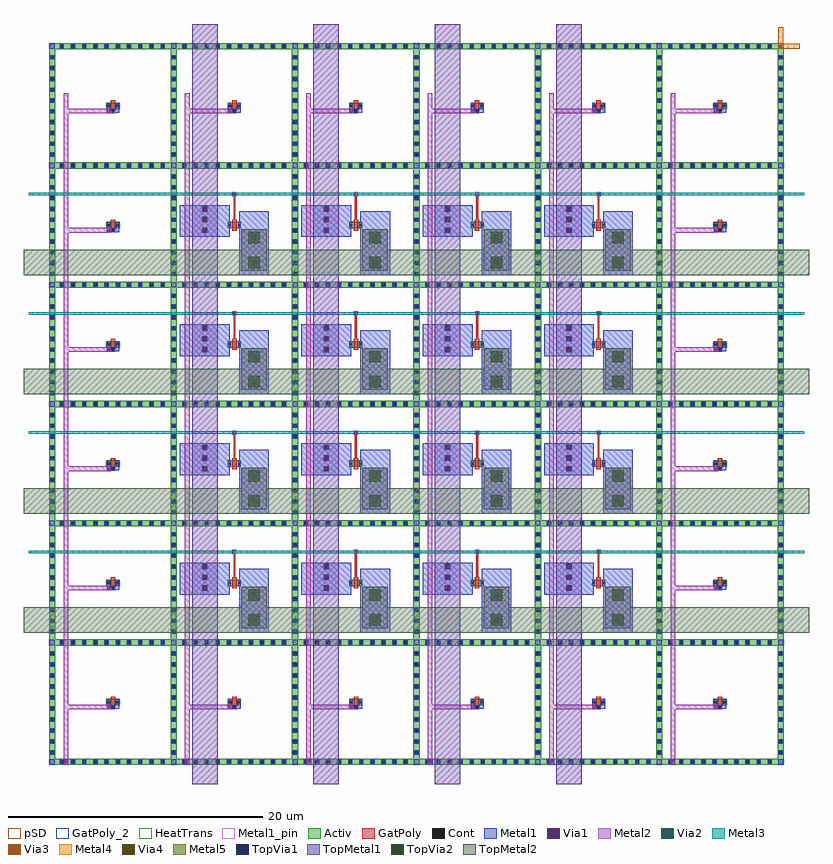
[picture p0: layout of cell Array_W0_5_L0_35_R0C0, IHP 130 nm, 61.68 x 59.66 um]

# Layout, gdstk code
import gdstk
lib = gdstk.Library(unit=1e-6, precision=1e-09)
def R(c, l, rs):  # rectangles x0, y0, x1, y1
    for r in rs: c.add(gdstk.rectangle(r[:2], r[2:], *l))
def A(c, l, x, y, w, h, nx, ny, dx, dy):  # array of equal rectangles
    R(c, l, [(x+i*dx, y+j*dy, x+i*dx+w, y+j*dy+h) for i in range(nx) for j in range(ny)])
Activ = (1, 0)
GatPoly = (5, 0)
GatPoly_2 = (5, 2)
Cont = (6, 0)
Metal1 = (8, 0)
Metal1_pin = (8, 2)
Metal2 = (10, 0)
pSD = (14, 0)
Via1 = (19, 0)
Via2 = (29, 0)
Metal3 = (30, 0)
Via3 = (49, 0)
Metal4 = (50, 0)
HeatTrans = (51, 0)
Via4 = (66, 0)
Metal5 = (67, 0)
TopVia1 = (125, 0)
TopMetal1 = (126, 0)
TopVia2 = (133, 0)
TopMetal2 = (134, 0)

array_w0_5_l0_35_r0c0 = lib.new_cell('Array_W0_5_L0_35_R0C0')
A(array_w0_5_l0_35_r0c0, Activ, 0, 0, 0.5, 56.66, 7, 1, 9.53, 0)
A(array_w0_5_l0_35_r0c0, Activ, 0, 0, 57.68, 0.5, 1, 7, 0, 9.36)
A(array_w0_5_l0_35_r0c0, Activ, 4.5, 4.68, 0.3, 0.3, 1, 6, 0, 9.36)
A(array_w0_5_l0_35_r0c0, Activ, 4.5, 4.68, 1.03, 0.5, 6, 6, 9.53, 9.36)
A(array_w0_5_l0_35_r0c0, Activ, 5.23, 4.68, 0.3, 0.3, 1, 6, 0, 9.36)
A(array_w0_5_l0_35_r0c0, Activ, 14.03, 4.68, 0.3, 0.3, 1, 6, 0, 9.36)
A(array_w0_5_l0_35_r0c0, Activ, 14.76, 4.68, 0.3, 0.3, 1, 6, 0, 9.36)
A(array_w0_5_l0_35_r0c0, Activ, 23.56, 4.68, 0.3, 0.3, 1, 6, 0, 9.36)
A(array_w0_5_l0_35_r0c0, Activ, 24.29, 4.68, 0.3, 0.3, 1, 6, 0, 9.36)
A(array_w0_5_l0_35_r0c0, Activ, 33.09, 4.68, 0.3, 0.3, 1, 6, 0, 9.36)
A(array_w0_5_l0_35_r0c0, Activ, 33.82, 4.68, 0.3, 0.3, 1, 6, 0, 9.36)
A(array_w0_5_l0_35_r0c0, Activ, 42.62, 4.68, 0.3, 0.3, 1, 6, 0, 9.36)
A(array_w0_5_l0_35_r0c0, Activ, 43.35, 4.68, 0.3, 0.3, 1, 6, 0, 9.36)
A(array_w0_5_l0_35_r0c0, Activ, 52.15, 4.68, 0.3, 0.3, 1, 6, 0, 9.36)
A(array_w0_5_l0_35_r0c0, Activ, 52.88, 4.68, 0.3, 0.3, 1, 6, 0, 9.36)
A(array_w0_5_l0_35_r0c0, GatPoly, 4.84, 4.5, 0.35, 0.86, 6, 6, 9.53, 9.36)
A(array_w0_5_l0_35_r0c0, GatPoly, 4.95, 4.53, 0.13, 0.2, 6, 2, 9.53, 46.8)
A(array_w0_5_l0_35_r0c0, GatPoly, 4.95, 13.89, 0.13, 0.2, 1, 4, 0, 9.36)
A(array_w0_5_l0_35_r0c0, GatPoly, 52.6, 13.89, 0.13, 0.2, 1, 4, 0, 9.36)
A(array_w0_5_l0_35_r0c0, GatPoly, 14.48, 14.72, 0.13, 2, 4, 4, 9.53, 9.36)
A(array_w0_5_l0_35_r0c0, GatPoly_2, 4.84, 4.5, 0.35, 0.86, 6, 6, 9.53, 9.36)
A(array_w0_5_l0_35_r0c0, Cont, 0.881, 0.14, 0.22, 0.22, 10, 7, 0.881, 9.36)
A(array_w0_5_l0_35_r0c0, Cont, 10.53, 0.14, 0.22, 0.22, 1, 7, 0, 9.36)
A(array_w0_5_l0_35_r0c0, Cont, 11.397, 0.14, 0.22, 0.22, 4, 7, 0.868, 9.36)
A(array_w0_5_l0_35_r0c0, Cont, 14.868, 0.14, 0.22, 0.22, 5, 7, 0.868, 9.36)
A(array_w0_5_l0_35_r0c0, Cont, 20.06, 0.14, 0.22, 0.22, 1, 7, 0, 9.36)
A(array_w0_5_l0_35_r0c0, Cont, 20.927, 0.14, 0.22, 0.22, 4, 7, 0.868, 9.36)
A(array_w0_5_l0_35_r0c0, Cont, 24.398, 0.14, 0.22, 0.22, 5, 7, 0.868, 9.36)
A(array_w0_5_l0_35_r0c0, Cont, 29.59, 0.14, 0.22, 0.22, 1, 7, 0, 9.36)
A(array_w0_5_l0_35_r0c0, Cont, 30.457, 0.14, 0.22, 0.22, 4, 7, 0.868, 9.36)
A(array_w0_5_l0_35_r0c0, Cont, 33.928, 0.14, 0.22, 0.22, 5, 7, 0.868, 9.36)
A(array_w0_5_l0_35_r0c0, Cont, 39.12, 0.14, 0.22, 0.22, 1, 7, 0, 9.36)
A(array_w0_5_l0_35_r0c0, Cont, 39.987, 0.14, 0.22, 0.22, 4, 7, 0.868, 9.36)
A(array_w0_5_l0_35_r0c0, Cont, 43.458, 0.14, 0.22, 0.22, 5, 7, 0.868, 9.36)
A(array_w0_5_l0_35_r0c0, Cont, 48.65, 0.14, 0.22, 0.22, 1, 7, 0, 9.36)
A(array_w0_5_l0_35_r0c0, Cont, 49.517, 0.14, 0.22, 0.22, 4, 7, 0.868, 9.36)
A(array_w0_5_l0_35_r0c0, Cont, 52.988, 0.14, 0.22, 0.22, 5, 7, 0.868, 9.36)
A(array_w0_5_l0_35_r0c0, Cont, 0.14, 0.864, 0.22, 0.22, 7, 10, 9.53, 0.864)
A(array_w0_5_l0_35_r0c0, Cont, 4.905, 4.42, 0.22, 0.22, 6, 2, 9.53, 46.8)
A(array_w0_5_l0_35_r0c0, Cont, 4.57, 4.85, 0.16, 0.16, 1, 6, 0, 9.36)
A(array_w0_5_l0_35_r0c0, Cont, 5.3, 4.85, 0.16, 0.16, 1, 6, 0, 9.36)
A(array_w0_5_l0_35_r0c0, Cont, 14.1, 4.85, 0.16, 0.16, 1, 6, 0, 9.36)
A(array_w0_5_l0_35_r0c0, Cont, 14.83, 4.85, 0.16, 0.16, 1, 6, 0, 9.36)
A(array_w0_5_l0_35_r0c0, Cont, 23.63, 4.85, 0.16, 0.16, 1, 6, 0, 9.36)
A(array_w0_5_l0_35_r0c0, Cont, 24.36, 4.85, 0.16, 0.16, 1, 6, 0, 9.36)
A(array_w0_5_l0_35_r0c0, Cont, 33.16, 4.85, 0.16, 0.16, 1, 6, 0, 9.36)
A(array_w0_5_l0_35_r0c0, Cont, 33.89, 4.85, 0.16, 0.16, 1, 6, 0, 9.36)
A(array_w0_5_l0_35_r0c0, Cont, 42.69, 4.85, 0.16, 0.16, 1, 6, 0, 9.36)
A(array_w0_5_l0_35_r0c0, Cont, 43.42, 4.85, 0.16, 0.16, 1, 6, 0, 9.36)
A(array_w0_5_l0_35_r0c0, Cont, 52.22, 4.85, 0.16, 0.16, 1, 6, 0, 9.36)
A(array_w0_5_l0_35_r0c0, Cont, 52.95, 4.85, 0.16, 0.16, 1, 6, 0, 9.36)
A(array_w0_5_l0_35_r0c0, Cont, 0.14, 10.36, 0.22, 0.22, 7, 2, 9.53, 0.848)
A(array_w0_5_l0_35_r0c0, Cont, 0.14, 12.057, 0.22, 0.22, 7, 8, 9.53, 0.849)
A(array_w0_5_l0_35_r0c0, Cont, 4.905, 13.78, 0.22, 0.22, 1, 4, 0, 9.36)
A(array_w0_5_l0_35_r0c0, Cont, 52.555, 13.78, 0.22, 0.22, 1, 4, 0, 9.36)
A(array_w0_5_l0_35_r0c0, Cont, 14.435, 16.61, 0.22, 0.22, 4, 4, 9.53, 9.36)
A(array_w0_5_l0_35_r0c0, Cont, 0.14, 19.72, 0.22, 0.22, 7, 2, 9.53, 0.848)
A(array_w0_5_l0_35_r0c0, Cont, 0.14, 21.417, 0.22, 0.22, 7, 8, 9.53, 0.849)
A(array_w0_5_l0_35_r0c0, Cont, 0.14, 29.08, 0.22, 0.22, 7, 2, 9.53, 0.848)
A(array_w0_5_l0_35_r0c0, Cont, 0.14, 30.777, 0.22, 0.22, 7, 8, 9.53, 0.849)
A(array_w0_5_l0_35_r0c0, Cont, 0.14, 38.44, 0.22, 0.22, 7, 2, 9.53, 0.848)
A(array_w0_5_l0_35_r0c0, Cont, 0.14, 40.137, 0.22, 0.22, 7, 8, 9.53, 0.849)
A(array_w0_5_l0_35_r0c0, Cont, 0.14, 47.8, 0.22, 0.22, 7, 2, 9.53, 0.848)
A(array_w0_5_l0_35_r0c0, Cont, 0.14, 49.497, 0.22, 0.22, 7, 8, 9.53, 0.849)
A(array_w0_5_l0_35_r0c0, Metal1, 0.821, 0.08, 0.34, 0.34, 10, 7, 0.881, 9.36)
A(array_w0_5_l0_35_r0c0, Metal1, 10.47, 0.08, 0.34, 0.34, 1, 7, 0, 9.36)
A(array_w0_5_l0_35_r0c0, Metal1, 11.337, 0.08, 0.34, 0.34, 4, 7, 0.868, 9.36)
A(array_w0_5_l0_35_r0c0, Metal1, 14.808, 0.08, 0.34, 0.34, 5, 7, 0.868, 9.36)
A(array_w0_5_l0_35_r0c0, Metal1, 20, 0.08, 0.34, 0.34, 1, 7, 0, 9.36)
A(array_w0_5_l0_35_r0c0, Metal1, 20.867, 0.08, 0.34, 0.34, 4, 7, 0.868, 9.36)
A(array_w0_5_l0_35_r0c0, Metal1, 24.338, 0.08, 0.34, 0.34, 5, 7, 0.868, 9.36)
A(array_w0_5_l0_35_r0c0, Metal1, 29.53, 0.08, 0.34, 0.34, 1, 7, 0, 9.36)
A(array_w0_5_l0_35_r0c0, Metal1, 30.397, 0.08, 0.34, 0.34, 4, 7, 0.868, 9.36)
A(array_w0_5_l0_35_r0c0, Metal1, 33.868, 0.08, 0.34, 0.34, 5, 7, 0.868, 9.36)
A(array_w0_5_l0_35_r0c0, Metal1, 39.06, 0.08, 0.34, 0.34, 1, 7, 0, 9.36)
A(array_w0_5_l0_35_r0c0, Metal1, 39.927, 0.08, 0.34, 0.34, 4, 7, 0.868, 9.36)
A(array_w0_5_l0_35_r0c0, Metal1, 43.398, 0.08, 0.34, 0.34, 5, 7, 0.868, 9.36)
A(array_w0_5_l0_35_r0c0, Metal1, 48.59, 0.08, 0.34, 0.34, 1, 7, 0, 9.36)
A(array_w0_5_l0_35_r0c0, Metal1, 49.457, 0.08, 0.34, 0.34, 4, 7, 0.868, 9.36)
A(array_w0_5_l0_35_r0c0, Metal1, 52.928, 0.08, 0.34, 0.34, 5, 7, 0.868, 9.36)
A(array_w0_5_l0_35_r0c0, Metal1, 0.08, 0.804, 0.34, 0.34, 7, 10, 9.53, 0.864)
A(array_w0_5_l0_35_r0c0, Metal1, 4.845, 4.36, 0.34, 0.34, 6, 2, 9.53, 46.8)
A(array_w0_5_l0_35_r0c0, Metal1, 4.51, 4.39, 0.28, 0.68, 1, 6, 0, 9.36)
A(array_w0_5_l0_35_r0c0, Metal1, 4.51, 4.39, 1.01, 0.28, 6, 2, 9.53, 46.8)
A(array_w0_5_l0_35_r0c0, Metal1, 5.24, 4.39, 0.28, 0.68, 1, 6, 0, 9.36)
A(array_w0_5_l0_35_r0c0, Metal1, 52.16, 4.39, 0.28, 0.68, 1, 6, 0, 9.36)
A(array_w0_5_l0_35_r0c0, Metal1, 52.89, 4.39, 0.28, 0.68, 1, 6, 0, 9.36)
A(array_w0_5_l0_35_r0c0, Metal1, 4.57, 4.68, 0.16, 0.5, 1, 6, 0, 9.36)
A(array_w0_5_l0_35_r0c0, Metal1, 5.3, 4.68, 0.16, 0.5, 1, 6, 0, 9.36)
A(array_w0_5_l0_35_r0c0, Metal1, 14.1, 4.68, 0.16, 0.5, 1, 6, 0, 9.36)
A(array_w0_5_l0_35_r0c0, Metal1, 14.83, 4.68, 0.16, 0.5, 1, 6, 0, 9.36)
A(array_w0_5_l0_35_r0c0, Metal1, 23.63, 4.68, 0.16, 0.5, 1, 6, 0, 9.36)
A(array_w0_5_l0_35_r0c0, Metal1, 24.36, 4.68, 0.16, 0.5, 1, 6, 0, 9.36)
A(array_w0_5_l0_35_r0c0, Metal1, 33.16, 4.68, 0.16, 0.5, 1, 6, 0, 9.36)
A(array_w0_5_l0_35_r0c0, Metal1, 33.89, 4.68, 0.16, 0.5, 1, 6, 0, 9.36)
A(array_w0_5_l0_35_r0c0, Metal1, 42.69, 4.68, 0.16, 0.5, 1, 6, 0, 9.36)
A(array_w0_5_l0_35_r0c0, Metal1, 43.42, 4.68, 0.16, 0.5, 1, 6, 0, 9.36)
A(array_w0_5_l0_35_r0c0, Metal1, 52.22, 4.68, 0.16, 0.5, 1, 6, 0, 9.36)
A(array_w0_5_l0_35_r0c0, Metal1, 52.95, 4.68, 0.16, 0.5, 1, 6, 0, 9.36)
A(array_w0_5_l0_35_r0c0, Metal1, 0.05, 9.41, 0.4, 0.4, 7, 6, 9.53, 9.36)
A(array_w0_5_l0_35_r0c0, Metal1, 0.08, 10.3, 0.34, 0.34, 7, 2, 9.53, 0.848)
A(array_w0_5_l0_35_r0c0, Metal1, 14.91, 10.36, 2.32, 5.02, 4, 4, 9.53, 9.36)
A(array_w0_5_l0_35_r0c0, Metal1, 0.08, 11.997, 0.34, 0.34, 7, 8, 9.53, 0.849)
A(array_w0_5_l0_35_r0c0, Metal1, 10.26, 13.371, 3.92, 2.499, 4, 4, 9.53, 9.36)
A(array_w0_5_l0_35_r0c0, Metal1, 4.845, 13.72, 0.34, 0.34, 1, 4, 0, 9.36)
A(array_w0_5_l0_35_r0c0, Metal1, 52.495, 13.72, 0.34, 0.34, 1, 4, 0, 9.36)
A(array_w0_5_l0_35_r0c0, Metal1, 4.51, 13.75, 1.01, 0.28, 1, 4, 0, 9.36)
A(array_w0_5_l0_35_r0c0, Metal1, 52.16, 13.75, 1.01, 0.28, 1, 4, 0, 9.36)
A(array_w0_5_l0_35_r0c0, Metal1, 14.385, 16.56, 0.32, 0.32, 4, 4, 9.53, 9.36)
A(array_w0_5_l0_35_r0c0, Metal1, 0.08, 19.66, 0.34, 0.34, 7, 2, 9.53, 0.848)
A(array_w0_5_l0_35_r0c0, Metal1, 0.08, 21.357, 0.34, 0.34, 7, 8, 9.53, 0.849)
A(array_w0_5_l0_35_r0c0, Metal1, 0.08, 29.02, 0.34, 0.34, 7, 2, 9.53, 0.848)
A(array_w0_5_l0_35_r0c0, Metal1, 0.08, 30.717, 0.34, 0.34, 7, 8, 9.53, 0.849)
A(array_w0_5_l0_35_r0c0, Metal1, 0.08, 38.38, 0.34, 0.34, 7, 2, 9.53, 0.848)
A(array_w0_5_l0_35_r0c0, Metal1, 0.08, 40.077, 0.34, 0.34, 7, 8, 9.53, 0.849)
A(array_w0_5_l0_35_r0c0, Metal1, 0.08, 47.74, 0.34, 0.34, 7, 2, 9.53, 0.848)
A(array_w0_5_l0_35_r0c0, Metal1, 0.08, 49.437, 0.34, 0.34, 7, 8, 9.53, 0.849)
R(array_w0_5_l0_35_r0c0, Metal1, [(0.05,0.05,0.45,0.45), (1.115,0.05,1.515,0.45), (9.58,0.05,9.98,0.45), (10.645,0.05,11.045,0.45), (19.11,0.05,19.51,0.45), (20.175,0.05,20.575,0.45), (28.64,0.05,29.04,0.45), (29.705,0.05,30.105,0.45), (38.17,0.05,38.57,0.45), (39.235,0.05,39.635,0.45), (47.7,0.05,48.1,0.45), (48.765,0.05,49.165,0.45), (57.23,0.05,57.63,0.45), (14.04,4.39,14.32,5.07), (14.77,4.39,15.05,5.07), (23.57,4.39,23.85,5.07), (24.3,4.39,24.58,5.07), (33.1,4.39,33.38,5.07), (33.83,4.39,34.11,5.07), (42.63,4.39,42.91,5.07), (43.36,4.39,43.64,5.07), (14.04,51.19,14.32,51.87), (14.77,51.19,15.05,51.87), (23.57,51.19,23.85,51.87), (24.3,51.19,24.58,51.87), (33.1,51.19,33.38,51.87), (33.83,51.19,34.11,51.87), (42.63,51.19,42.91,51.87), (43.36,51.19,43.64,51.87)])
A(array_w0_5_l0_35_r0c0, Metal1_pin, 4.57, 4.68, 0.16, 0.5, 1, 6, 0, 9.36)
A(array_w0_5_l0_35_r0c0, Metal1_pin, 5.3, 4.68, 0.16, 0.5, 1, 6, 0, 9.36)
A(array_w0_5_l0_35_r0c0, Metal1_pin, 14.1, 4.68, 0.16, 0.5, 1, 6, 0, 9.36)
A(array_w0_5_l0_35_r0c0, Metal1_pin, 14.83, 4.68, 0.16, 0.5, 1, 6, 0, 9.36)
A(array_w0_5_l0_35_r0c0, Metal1_pin, 23.63, 4.68, 0.16, 0.5, 1, 6, 0, 9.36)
A(array_w0_5_l0_35_r0c0, Metal1_pin, 24.36, 4.68, 0.16, 0.5, 1, 6, 0, 9.36)
A(array_w0_5_l0_35_r0c0, Metal1_pin, 33.16, 4.68, 0.16, 0.5, 1, 6, 0, 9.36)
A(array_w0_5_l0_35_r0c0, Metal1_pin, 33.89, 4.68, 0.16, 0.5, 1, 6, 0, 9.36)
A(array_w0_5_l0_35_r0c0, Metal1_pin, 42.69, 4.68, 0.16, 0.5, 1, 6, 0, 9.36)
A(array_w0_5_l0_35_r0c0, Metal1_pin, 43.42, 4.68, 0.16, 0.5, 1, 6, 0, 9.36)
A(array_w0_5_l0_35_r0c0, Metal1_pin, 52.22, 4.68, 0.16, 0.5, 1, 6, 0, 9.36)
A(array_w0_5_l0_35_r0c0, Metal1_pin, 52.95, 4.68, 0.16, 0.5, 1, 6, 0, 9.36)
A(array_w0_5_l0_35_r0c0, Metal2, 1.135, 0.07, 0.36, 52.66, 6, 1, 9.53, 0)
A(array_w0_5_l0_35_r0c0, Metal2, 1.135, 4.35, 3.695, 0.36, 6, 2, 9.53, 46.8)
A(array_w0_5_l0_35_r0c0, Metal2, 15.915, 11.205, 0.31, 0.31, 4, 2, 9.53, 1.96)
A(array_w0_5_l0_35_r0c0, Metal2, 1.135, 13.71, 3.695, 0.36, 1, 4, 0, 9.36)
A(array_w0_5_l0_35_r0c0, Metal2, 48.785, 13.71, 3.695, 0.36, 1, 4, 0, 9.36)
A(array_w0_5_l0_35_r0c0, Metal2, 12.065, 13.735, 0.31, 0.31, 4, 3, 9.53, 0.84)
A(array_w0_5_l0_35_r0c0, Metal2, 14.4, 16.575, 0.29, 0.29, 4, 4, 9.53, 9.36)
A(array_w0_5_l0_35_r0c0, Metal2, 15.915, 20.565, 0.31, 0.31, 4, 2, 9.53, 1.96)
A(array_w0_5_l0_35_r0c0, Metal2, 12.065, 23.095, 0.31, 0.31, 4, 3, 9.53, 0.84)
A(array_w0_5_l0_35_r0c0, Metal2, 15.915, 29.925, 0.31, 0.31, 4, 2, 9.53, 1.96)
A(array_w0_5_l0_35_r0c0, Metal2, 12.065, 32.455, 0.31, 0.31, 4, 3, 9.53, 0.84)
A(array_w0_5_l0_35_r0c0, Metal2, 15.915, 39.285, 0.31, 0.31, 4, 2, 9.53, 1.96)
A(array_w0_5_l0_35_r0c0, Metal2, 12.065, 41.815, 0.31, 0.31, 4, 3, 9.53, 0.84)
R(array_w0_5_l0_35_r0c0, Metal2, [(57.25,56.23,57.61,56.59)])
A(array_w0_5_l0_35_r0c0, pSD, 0, 0, 0.5, 56.66, 7, 1, 9.53, 0)
A(array_w0_5_l0_35_r0c0, pSD, 0, 0, 57.68, 0.5, 1, 7, 0, 9.36)
A(array_w0_5_l0_35_r0c0, Via1, 1.22, 0.155, 0.19, 0.19, 6, 1, 9.53, 0)
A(array_w0_5_l0_35_r0c0, Via1, 4.555, 4.435, 0.19, 0.19, 6, 2, 9.53, 46.8)
A(array_w0_5_l0_35_r0c0, Via1, 15.975, 11.265, 0.19, 0.19, 4, 2, 9.53, 1.96)
A(array_w0_5_l0_35_r0c0, Via1, 4.555, 13.795, 0.19, 0.19, 1, 4, 0, 9.36)
A(array_w0_5_l0_35_r0c0, Via1, 12.125, 13.795, 0.19, 0.19, 4, 3, 9.53, 0.84)
A(array_w0_5_l0_35_r0c0, Via1, 52.205, 13.795, 0.19, 0.19, 1, 4, 0, 9.36)
A(array_w0_5_l0_35_r0c0, Via1, 14.45, 16.625, 0.19, 0.19, 4, 4, 9.53, 9.36)
A(array_w0_5_l0_35_r0c0, Via1, 15.975, 20.625, 0.19, 0.19, 4, 2, 9.53, 1.96)
A(array_w0_5_l0_35_r0c0, Via1, 12.125, 23.155, 0.19, 0.19, 4, 3, 9.53, 0.84)
A(array_w0_5_l0_35_r0c0, Via1, 15.975, 29.985, 0.19, 0.19, 4, 2, 9.53, 1.96)
A(array_w0_5_l0_35_r0c0, Via1, 12.125, 32.515, 0.19, 0.19, 4, 3, 9.53, 0.84)
A(array_w0_5_l0_35_r0c0, Via1, 15.975, 39.345, 0.19, 0.19, 4, 2, 9.53, 1.96)
A(array_w0_5_l0_35_r0c0, Via1, 12.125, 41.875, 0.19, 0.19, 4, 3, 9.53, 0.84)
R(array_w0_5_l0_35_r0c0, Via1, [(57.335,56.315,57.525,56.505)])
A(array_w0_5_l0_35_r0c0, Via2, 15.975, 11.265, 0.19, 0.19, 4, 2, 9.53, 1.96)
A(array_w0_5_l0_35_r0c0, Via2, 12.125, 13.795, 0.19, 0.19, 4, 3, 9.53, 0.84)
A(array_w0_5_l0_35_r0c0, Via2, 14.45, 16.625, 0.19, 0.19, 4, 4, 9.53, 9.36)
A(array_w0_5_l0_35_r0c0, Via2, 15.975, 20.625, 0.19, 0.19, 4, 2, 9.53, 1.96)
A(array_w0_5_l0_35_r0c0, Via2, 12.125, 23.155, 0.19, 0.19, 4, 3, 9.53, 0.84)
A(array_w0_5_l0_35_r0c0, Via2, 15.975, 29.985, 0.19, 0.19, 4, 2, 9.53, 1.96)
A(array_w0_5_l0_35_r0c0, Via2, 12.125, 32.515, 0.19, 0.19, 4, 3, 9.53, 0.84)
A(array_w0_5_l0_35_r0c0, Via2, 15.975, 39.345, 0.19, 0.19, 4, 2, 9.53, 1.96)
A(array_w0_5_l0_35_r0c0, Via2, 12.125, 41.875, 0.19, 0.19, 4, 3, 9.53, 0.84)
R(array_w0_5_l0_35_r0c0, Via2, [(57.335,56.315,57.525,56.505)])
A(array_w0_5_l0_35_r0c0, Metal3, 15.915, 11.205, 0.31, 0.31, 4, 2, 9.53, 1.96)
A(array_w0_5_l0_35_r0c0, Metal3, 12.065, 13.735, 0.31, 0.31, 4, 3, 9.53, 0.84)
A(array_w0_5_l0_35_r0c0, Metal3, -1.6, 16.62, 60.88, 0.2, 1, 4, 0, 9.36)
A(array_w0_5_l0_35_r0c0, Metal3, 14.445, 16.62, 0.2, 0.2, 4, 4, 9.53, 9.36)
A(array_w0_5_l0_35_r0c0, Metal3, 15.915, 20.565, 0.31, 0.31, 4, 2, 9.53, 1.96)
A(array_w0_5_l0_35_r0c0, Metal3, 12.065, 23.095, 0.31, 0.31, 4, 3, 9.53, 0.84)
A(array_w0_5_l0_35_r0c0, Metal3, 15.915, 29.925, 0.31, 0.31, 4, 2, 9.53, 1.96)
A(array_w0_5_l0_35_r0c0, Metal3, 12.065, 32.455, 0.31, 0.31, 4, 3, 9.53, 0.84)
A(array_w0_5_l0_35_r0c0, Metal3, 15.915, 39.285, 0.31, 0.31, 4, 2, 9.53, 1.96)
A(array_w0_5_l0_35_r0c0, Metal3, 12.065, 41.815, 0.31, 0.31, 4, 3, 9.53, 0.84)
R(array_w0_5_l0_35_r0c0, Metal3, [(57.33,56.31,57.53,56.51)])
A(array_w0_5_l0_35_r0c0, Via3, 15.975, 11.265, 0.19, 0.19, 4, 2, 9.53, 1.96)
A(array_w0_5_l0_35_r0c0, Via3, 12.125, 13.795, 0.19, 0.19, 4, 3, 9.53, 0.84)
A(array_w0_5_l0_35_r0c0, Via3, 15.975, 20.625, 0.19, 0.19, 4, 2, 9.53, 1.96)
A(array_w0_5_l0_35_r0c0, Via3, 12.125, 23.155, 0.19, 0.19, 4, 3, 9.53, 0.84)
A(array_w0_5_l0_35_r0c0, Via3, 15.975, 29.985, 0.19, 0.19, 4, 2, 9.53, 1.96)
A(array_w0_5_l0_35_r0c0, Via3, 12.125, 32.515, 0.19, 0.19, 4, 3, 9.53, 0.84)
A(array_w0_5_l0_35_r0c0, Via3, 15.975, 39.345, 0.19, 0.19, 4, 2, 9.53, 1.96)
A(array_w0_5_l0_35_r0c0, Via3, 12.125, 41.875, 0.19, 0.19, 4, 3, 9.53, 0.84)
R(array_w0_5_l0_35_r0c0, Via3, [(57.335,56.315,57.525,56.505)])
A(array_w0_5_l0_35_r0c0, Metal4, 15.915, 11.205, 0.31, 0.31, 4, 2, 9.53, 1.96)
A(array_w0_5_l0_35_r0c0, Metal4, 12.065, 13.735, 0.31, 0.31, 4, 3, 9.53, 0.84)
A(array_w0_5_l0_35_r0c0, Metal4, 15.915, 20.565, 0.31, 0.31, 4, 2, 9.53, 1.96)
A(array_w0_5_l0_35_r0c0, Metal4, 12.065, 23.095, 0.31, 0.31, 4, 3, 9.53, 0.84)
A(array_w0_5_l0_35_r0c0, Metal4, 15.915, 29.925, 0.31, 0.31, 4, 2, 9.53, 1.96)
A(array_w0_5_l0_35_r0c0, Metal4, 12.065, 32.455, 0.31, 0.31, 4, 3, 9.53, 0.84)
A(array_w0_5_l0_35_r0c0, Metal4, 15.915, 39.285, 0.31, 0.31, 4, 2, 9.53, 1.96)
A(array_w0_5_l0_35_r0c0, Metal4, 12.065, 41.815, 0.31, 0.31, 4, 3, 9.53, 0.84)
R(array_w0_5_l0_35_r0c0, Metal4, [(57.23,56.21,58.93,56.61), (57.23,56.21,57.63,57.91)])
A(array_w0_5_l0_35_r0c0, HeatTrans, 4.84, 4.5, 0.35, 0.86, 6, 6, 9.53, 9.36)
A(array_w0_5_l0_35_r0c0, Via4, 15.975, 11.265, 0.19, 0.19, 4, 2, 9.53, 1.96)
A(array_w0_5_l0_35_r0c0, Via4, 12.125, 13.795, 0.19, 0.19, 4, 3, 9.53, 0.84)
A(array_w0_5_l0_35_r0c0, Via4, 15.975, 20.625, 0.19, 0.19, 4, 2, 9.53, 1.96)
A(array_w0_5_l0_35_r0c0, Via4, 12.125, 23.155, 0.19, 0.19, 4, 3, 9.53, 0.84)
A(array_w0_5_l0_35_r0c0, Via4, 15.975, 29.985, 0.19, 0.19, 4, 2, 9.53, 1.96)
A(array_w0_5_l0_35_r0c0, Via4, 12.125, 32.515, 0.19, 0.19, 4, 3, 9.53, 0.84)
A(array_w0_5_l0_35_r0c0, Via4, 15.975, 39.345, 0.19, 0.19, 4, 2, 9.53, 1.96)
A(array_w0_5_l0_35_r0c0, Via4, 12.125, 41.875, 0.19, 0.19, 4, 3, 9.53, 0.84)
A(array_w0_5_l0_35_r0c0, Metal5, 15.915, 11.205, 0.31, 0.31, 4, 2, 9.53, 1.96)
A(array_w0_5_l0_35_r0c0, Metal5, 12.065, 13.735, 0.31, 0.31, 4, 3, 9.53, 0.84)
A(array_w0_5_l0_35_r0c0, Metal5, 15.915, 20.565, 0.31, 0.31, 4, 2, 9.53, 1.96)
A(array_w0_5_l0_35_r0c0, Metal5, 12.065, 23.095, 0.31, 0.31, 4, 3, 9.53, 0.84)
A(array_w0_5_l0_35_r0c0, Metal5, 15.915, 29.925, 0.31, 0.31, 4, 2, 9.53, 1.96)
A(array_w0_5_l0_35_r0c0, Metal5, 12.065, 32.455, 0.31, 0.31, 4, 3, 9.53, 0.84)
A(array_w0_5_l0_35_r0c0, Metal5, 15.915, 39.285, 0.31, 0.31, 4, 2, 9.53, 1.96)
A(array_w0_5_l0_35_r0c0, Metal5, 12.065, 41.815, 0.31, 0.31, 4, 3, 9.53, 0.84)
A(array_w0_5_l0_35_r0c0, TopVia1, 15.86, 11.15, 0.42, 0.42, 4, 2, 9.53, 1.96)
A(array_w0_5_l0_35_r0c0, TopVia1, 12.01, 13.68, 0.42, 0.42, 4, 3, 9.53, 0.84)
A(array_w0_5_l0_35_r0c0, TopVia1, 15.86, 20.51, 0.42, 0.42, 4, 2, 9.53, 1.96)
A(array_w0_5_l0_35_r0c0, TopVia1, 12.01, 23.04, 0.42, 0.42, 4, 3, 9.53, 0.84)
A(array_w0_5_l0_35_r0c0, TopVia1, 15.86, 29.87, 0.42, 0.42, 4, 2, 9.53, 1.96)
A(array_w0_5_l0_35_r0c0, TopVia1, 12.01, 32.4, 0.42, 0.42, 4, 3, 9.53, 0.84)
A(array_w0_5_l0_35_r0c0, TopVia1, 15.86, 39.23, 0.42, 0.42, 4, 2, 9.53, 1.96)
A(array_w0_5_l0_35_r0c0, TopVia1, 12.01, 41.76, 0.42, 0.42, 4, 3, 9.53, 0.84)
A(array_w0_5_l0_35_r0c0, TopMetal1, 11.22, -1.5, 2, 59.66, 4, 1, 9.53, 0)
A(array_w0_5_l0_35_r0c0, TopMetal1, 15.07, 10.71, 2, 3.26, 4, 4, 9.53, 9.36)
A(array_w0_5_l0_35_r0c0, TopMetal1, 11.22, 13.58, 2, 2.3, 4, 4, 9.53, 9.36)
A(array_w0_5_l0_35_r0c0, TopVia2, 15.62, 10.91, 0.9, 0.9, 4, 2, 9.53, 1.96)
A(array_w0_5_l0_35_r0c0, TopVia2, 15.62, 20.27, 0.9, 0.9, 4, 2, 9.53, 1.96)
A(array_w0_5_l0_35_r0c0, TopVia2, 15.62, 29.63, 0.9, 0.9, 4, 2, 9.53, 1.96)
A(array_w0_5_l0_35_r0c0, TopVia2, 15.62, 38.99, 0.9, 0.9, 4, 2, 9.53, 1.96)
A(array_w0_5_l0_35_r0c0, TopMetal2, -2, 10.36, 61.68, 2, 1, 4, 0, 9.36)
A(array_w0_5_l0_35_r0c0, TopMetal2, 15.07, 10.71, 2, 3.26, 4, 4, 9.53, 9.36)

lib.write_gds('Array_W0_5_L0_35_R0C0.gds')
